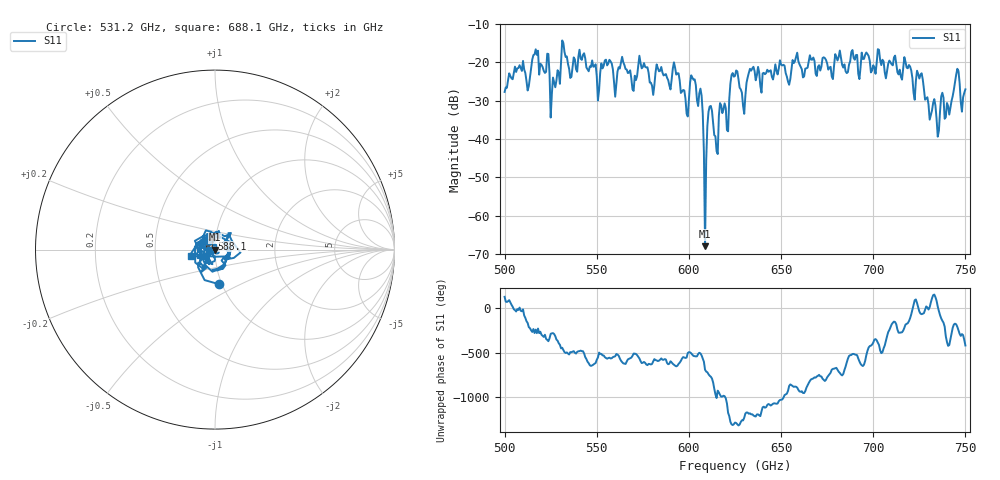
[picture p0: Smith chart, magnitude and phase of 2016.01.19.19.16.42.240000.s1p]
!Created with skrf (http://scikit-rf.org).
# GHz S RI R 50.0
!freq ReS11 ImS11
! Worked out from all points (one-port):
!   401 points, 500 GHz to 750 GHz, reference 50 ohm
!   lowest |S11| = -68.0 dB at 608.8 GHz (marker M1), VSWR 1.00, Z = 50 + j0.0196 ohm
!   |S11| at or under -10 dB: start of sweep to end of sweep
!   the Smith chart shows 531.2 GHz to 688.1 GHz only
!   S11 on the Smith chart (normalised r, x): 531.2 GHz: 0.97, -0.39; 588.1 GHz: 0.96, +0.12; 688.1 GHz: 0.76, -0.06
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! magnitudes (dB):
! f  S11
! 500 GHz  -27.7
! 508.8 GHz  -21.4
! 513.1 GHz  -26.2
! 516.9 GHz  -16.6
! 526.2 GHz  -23.9
! 531.2 GHz  -14.3
! 535.6 GHz  -24.0
! 541.9 GHz  -19.3
! 550.6 GHz  -29.9
! 562.5 GHz  -21.6
! 588.1 GHz  -24.0
! 593.8 GHz  -22.8
! 598.8 GHz  -33.4
! 601.9 GHz  -24.0
! 606.2 GHz  -26.8
! 608.8 GHz  -68.0
! 611.2 GHz  -31.5
! 615 GHz  -43.2
! 625 GHz  -23.5
! 629.4 GHz  -31.3
! 633.8 GHz  -22.1
! 656.2 GHz  -19.4
! 687.5 GHz  -19.7
! 688.1 GHz  -17.3
! 718.8 GHz  -21.5
! 735 GHz  -39.4
! 745.6 GHz  -21.7
! 750 GHz  -27.0
